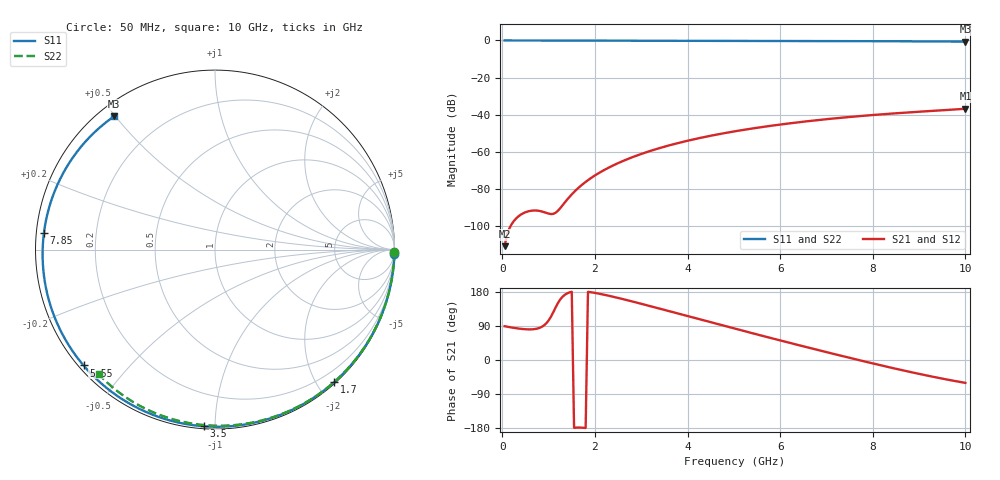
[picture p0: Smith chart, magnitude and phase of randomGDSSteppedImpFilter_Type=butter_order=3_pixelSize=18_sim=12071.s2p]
! freq	dB(S11)	phase(S11)	dB(S12)	phase(S12)
!  dB(S21)	phase(S21)	dB(S22)	phase(S22)
!S-par simulation data
#  GHz  S  DB  R 50
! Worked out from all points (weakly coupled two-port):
!   200 points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, 50 MHz to 10 GHz, reference 50 ohm
!   highest |S21| = -36.81 dB at 10 GHz (marker M1); lowest = -110.8 dB at 50 MHz (marker M2)
!   lowest |S11| = -0.6 dB at 10 GHz (marker M3), VSWR 28.07, Z = 2.22 + j24.8 ohm
!   |S11| at or under -10 dB: nowhere
!   |S22| runs from -0.4 to 0.0 dB; largest |S21 - S12| = 0
!   S11 on the Smith chart (normalised r, x): 50 MHz: 0, -78; 1.7 GHz: 0.02, -2.25; 3.5 GHz: 0.01, -0.94; 5.55 GHz: 0.01, -0.38; 7.85 GHz: 0.02, +0.05; 10 GHz: 0.04, +0.50
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0.05  -0.00 -1.5  -110.80 89.1  -110.80 89.1  -0.00 -0.8
0.4  -0.02 -11.6  -93.81 82.2  -93.81 82.2  -0.01 -6.1
0.8  -0.03 -23.0  -91.81 84.6  -91.81 84.6  -0.02 -12.2
1.2  -0.04 -34.3  -91.76 150.0  -91.76 150.0  -0.02 -18.3
1.6  -0.06 -45.3  -80.39 -178.4  -80.39 -178.4  -0.03 -24.3
1.7  -0.06 -48.0  -78.17 -178.4  -78.17 -178.4  -0.03 -25.8
1.75  -0.06 -49.4  -77.15 -178.8  -77.15 -178.8  -0.03 -26.5
2.05  -0.07 -57.4  -71.94 175.9  -71.94 175.9  -0.04 -31.0
2.45  -0.08 -67.8  -66.65 165.3  -66.65 165.3  -0.05 -36.8
2.9  -0.10 -79.1  -62.03 151.5  -62.03 151.5  -0.06 -43.3
3.4  -0.11 -91.2  -57.95 135.5  -57.95 135.5  -0.07 -50.5
3.5  -0.12 -93.6  -57.23 132.2  -57.23 132.2  -0.07 -51.9
4.25  -0.15 -110.8  -52.62 107.8  -52.62 107.8  -0.09 -62.3
5.05  -0.18 -128.1  -48.81 81.8  -48.81 81.8  -0.11 -73.0
5.55  -0.21 -138.6  -46.85 65.9  -46.85 65.9  -0.13 -79.6
6.15  -0.25 -150.9  -44.82 47.0  -44.82 47.0  -0.15 -87.2
6.7  -0.28 -162.1  -43.20 29.9  -43.20 29.9  -0.18 -94.1
7.3  -0.33 -174.2  -41.68 11.7  -41.68 11.7  -0.22 -101.4
7.85  -0.38 174.6  -40.46 -4.6  -40.46 -4.6  -0.25 -108.0
8.35  -0.42 164.2  -39.50 -19.0  -39.50 -19.0  -0.29 -113.9
9.2  -0.51 145.7  -38.07 -41.8  -38.07 -41.8  -0.37 -123.7
10  -0.62 127.1  -36.81 -60.4  -36.81 -60.4  -0.45 -132.9
